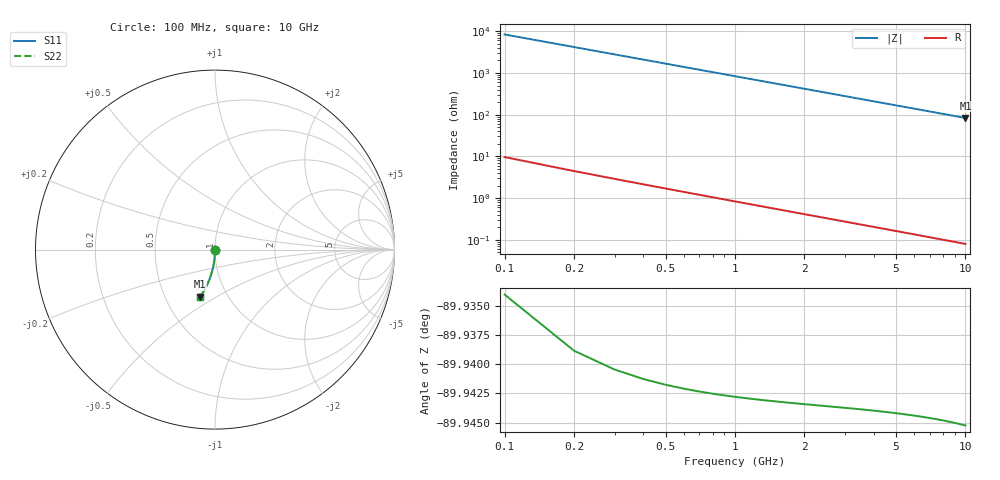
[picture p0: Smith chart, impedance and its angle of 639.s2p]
# Hz S RI R 50.00
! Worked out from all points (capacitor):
!   100 points, 100 MHz to 10 GHz, reference 50 ohm
!   read as one part in shunt: C = 190 fF near 100 MHz
!   lowest |Z| = 83.6 ohm at 10 GHz (marker M1)
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1e8  0.000107 -0.00287  0.9999 -0.00311  0.9999 -0.00311  0.000107 -0.00287
2e8  7.84e-05 -0.00573  0.9998 -0.00623  0.9998 -0.00623  7.84e-05 -0.00573
3e8  3.14e-05 -0.00859  0.9998 -0.00934  0.9998 -0.00934  3.14e-05 -0.00859
4e8  -3.35e-05 -0.0115  0.9997 -0.0125  0.9997 -0.0125  -3.35e-05 -0.0115
5e8  -0.000116 -0.0143  0.9996 -0.0156  0.9996 -0.0156  -0.000116 -0.0143
6e8  -0.000217 -0.0172  0.9995 -0.0187  0.9995 -0.0187  -0.000217 -0.0172
7e8  -0.000335 -0.02  0.9994 -0.0218  0.9994 -0.0218  -0.000335 -0.02
8e8  -0.000472 -0.0229  0.9993 -0.0249  0.9993 -0.0249  -0.000472 -0.0229
9e8  -0.000626 -0.0258  0.9991 -0.028  0.9991 -0.028  -0.000626 -0.0258
1.1e9  -0.000988 -0.0315  0.9988 -0.0342  0.9988 -0.0342  -0.000988 -0.0315
1.4e9  -0.00166 -0.04  0.9981 -0.0435  0.9981 -0.0435  -0.00166 -0.04
1.8e9  -0.00281 -0.0514  0.9969 -0.0559  0.9969 -0.0559  -0.00281 -0.0514
2.1e9  -0.00386 -0.0599  0.9959 -0.0652  0.9959 -0.0652  -0.00386 -0.0599
2.5e9  -0.0055 -0.0712  0.9942 -0.0775  0.9942 -0.0775  -0.0055 -0.0712
2.9e9  -0.00741 -0.0825  0.9923 -0.0897  0.9923 -0.0897  -0.00741 -0.0825
3.4e9  -0.0102 -0.0964  0.9895 -0.1049  0.9895 -0.1049  -0.0102 -0.0964
4.2e9  -0.0155 -0.1185  0.9842 -0.129  0.9842 -0.129  -0.0155 -0.1185
5.1e9  -0.0228 -0.1428  0.9769 -0.1556  0.9769 -0.1556  -0.0228 -0.1428
5.9e9  -0.0303 -0.164  0.9694 -0.1787  0.9694 -0.1787  -0.0303 -0.164
6.7e9  -0.0387 -0.1846  0.9609 -0.2013  0.9609 -0.2013  -0.0387 -0.1846
8.4e9  -0.0597 -0.2263  0.9398 -0.2473  0.9398 -0.2473  -0.0597 -0.2263
1e10  -0.0827 -0.2628  0.9167 -0.2878  0.9167 -0.2878  -0.0827 -0.2628
